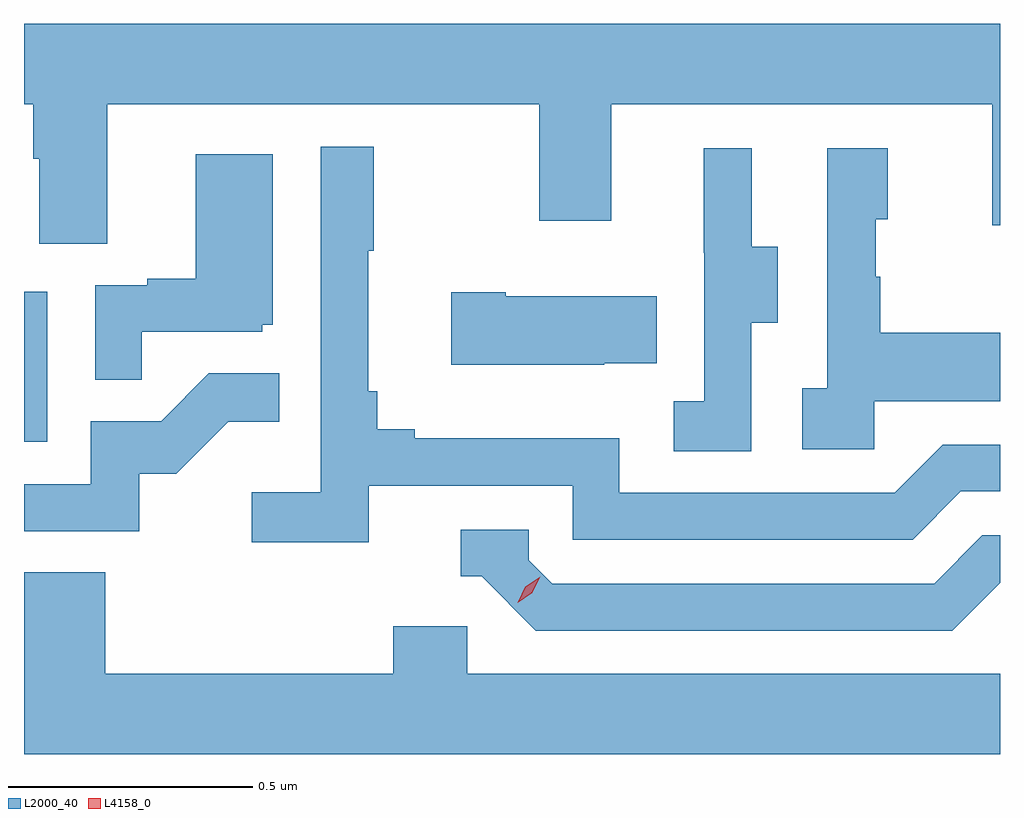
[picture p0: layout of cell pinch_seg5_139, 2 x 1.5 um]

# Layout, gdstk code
import gdstk
lib = gdstk.Library(unit=1e-6, precision=1e-09)
def R(c, l, rs):  # rectangles x0, y0, x1, y1
    for r in rs: c.add(gdstk.rectangle(r[:2], r[2:], *l))
def P(c, l, *ps):  # polygons
    for p in ps: c.add(gdstk.Polygon(p, *l))
L2000_40 = (2000, 40)
L4158_0 = (4158, 0)

pinch_seg5_139 = lib.new_cell('pinch_seg5_139')
R(pinch_seg5_139, L2000_40, [(1060.318,893.364,1060.366,893.671)])
P(pinch_seg5_139, L2000_40, [(1060.489,894.056),(1061.374,894.056),(1061.374,893.817),(1061.521,893.817),(1061.521,894.056),(1062.302,894.056),(1062.302,893.808),(1062.318,893.808),(1062.318,894.22),(1060.318,894.22),(1060.318,894.056),(1060.337,894.056),(1060.337,893.944),(1060.349,893.944),(1060.349,893.77),(1060.489,893.77)],
  [(1061.024,893.274),(1061.442,893.274),(1061.442,893.163),(1062.139,893.163),(1062.238,893.262),(1062.318,893.262),(1062.318,893.358),(1062.201,893.358),(1062.102,893.259),(1061.538,893.259),(1061.538,893.371),(1061.119,893.371),(1061.119,893.39),(1061.042,893.39),(1061.042,893.467),(1061.023,893.467),(1061.023,893.755),(1061.035,893.755),(1061.035,893.968),(1060.926,893.968),(1060.926,893.26),(1060.785,893.26),(1060.785,893.158),(1061.024,893.158)],
  [(1062.06,893.447),(1062.318,893.447),(1062.318,893.587),(1062.073,893.587),(1062.073,893.702),(1062.063,893.702),(1062.063,893.82),(1062.088,893.82),(1062.088,893.965),(1061.964,893.965),(1061.964,893.474),(1061.913,893.474),(1061.913,893.349),(1062.06,893.349)],
  [(1061.808,893.608),(1061.863,893.608),(1061.863,893.763),(1061.809,893.763),(1061.809,893.965),(1061.711,893.965),(1061.711,893.751),(1061.712,893.751),(1061.712,893.447),(1061.649,893.447),(1061.649,893.344),(1061.808,893.344)],
  [(1060.559,893.589),(1060.806,893.589),(1060.806,893.604),(1060.828,893.604),(1060.828,893.953),(1060.67,893.953),(1060.67,893.698),(1060.571,893.698),(1060.571,893.685),(1060.464,893.685),(1060.464,893.491),(1060.559,893.491)],
  [(1061.507,893.525),(1061.615,893.525),(1061.615,893.662),(1061.305,893.662),(1061.305,893.67),(1061.193,893.67),(1061.193,893.522),(1061.507,893.522)],
  [(1060.554,893.298),(1060.63,893.298),(1060.737,893.405),(1060.841,893.405),(1060.841,893.504),(1060.697,893.504),(1060.599,893.406),(1060.455,893.406),(1060.455,893.277),(1060.318,893.277),(1060.318,893.181),(1060.554,893.181)],
  [(1062.318,893.075),(1062.318,893.172),(1062.282,893.172),(1062.183,893.073),(1061.4,893.073),(1061.352,893.121),(1061.352,893.184),(1061.213,893.184),(1061.213,893.088),(1061.256,893.088),(1061.367,892.977),(1062.22,892.977)],
  [(1062.318,892.888),(1061.226,892.888),(1061.226,892.986),(1061.075,892.986),(1061.075,892.888),(1060.484,892.888),(1060.484,893.096),(1060.319,893.096),(1060.319,892.888),(1060.318,892.888),(1060.318,892.724),(1062.318,892.724)])
P(pinch_seg5_139, L4158_0, [(1061.33,893.034),(1061.33,893.034),(1061.345,893.067),(1061.376,893.087),(1061.376,893.087),(1061.376,893.087),(1061.36,893.054),(1061.33,893.034)])

lib.write_gds('pinch_seg5_139.gds')
